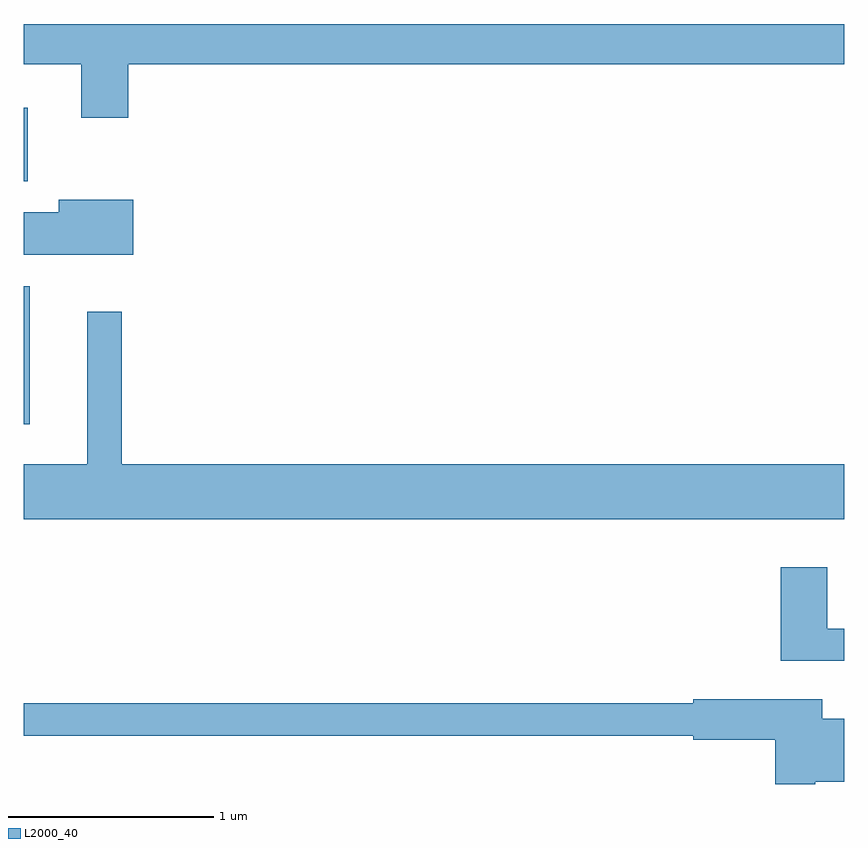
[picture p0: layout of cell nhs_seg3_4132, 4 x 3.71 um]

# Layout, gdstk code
import gdstk
lib = gdstk.Library(unit=1e-6, precision=1e-09)
def R(c, l, rs):  # rectangles x0, y0, x1, y1
    for r in rs: c.add(gdstk.rectangle(r[:2], r[2:], *l))
def P(c, l, *ps):  # polygons
    for p in ps: c.add(gdstk.Polygon(p, *l))
L2000_40 = (2000, 40)

nhs_seg3_4132 = lib.new_cell('nhs_seg3_4132')
R(nhs_seg3_4132, L2000_40, [(305.611,1221.941,305.639,1222.614), (305.611,1223.126,305.629,1223.484)])
P(nhs_seg3_4132, L2000_40, [(306.119,1223.696),(309.611,1223.696),(309.611,1223.892),(305.611,1223.892),(305.611,1223.696),(305.891,1223.696),(305.891,1223.436),(306.119,1223.436)],
  [(306.144,1223.034),(305.781,1223.034),(305.781,1222.974),(305.611,1222.974),(305.611,1222.766),(306.144,1222.766)],
  [(309.611,1221.744),(306.089,1221.744),(306.089,1222.488),(305.921,1222.488),(305.921,1221.744),(305.611,1221.744),(305.611,1221.476),(309.611,1221.476)],
  [(309.611,1220.944),(309.529,1220.944),(309.529,1221.244),(309.301,1221.244),(309.301,1220.786),(309.611,1220.786)],
  [(309.47,1220.196),(309.611,1220.196),(309.611,1220.504),(309.504,1220.504),(309.504,1220.599),(308.876,1220.599),(308.876,1220.579),(305.611,1220.579),(305.611,1220.421),(308.876,1220.421),(308.876,1220.401),(309.276,1220.401),(309.276,1220.186),(309.47,1220.186)])

lib.write_gds('nhs_seg3_4132.gds')
